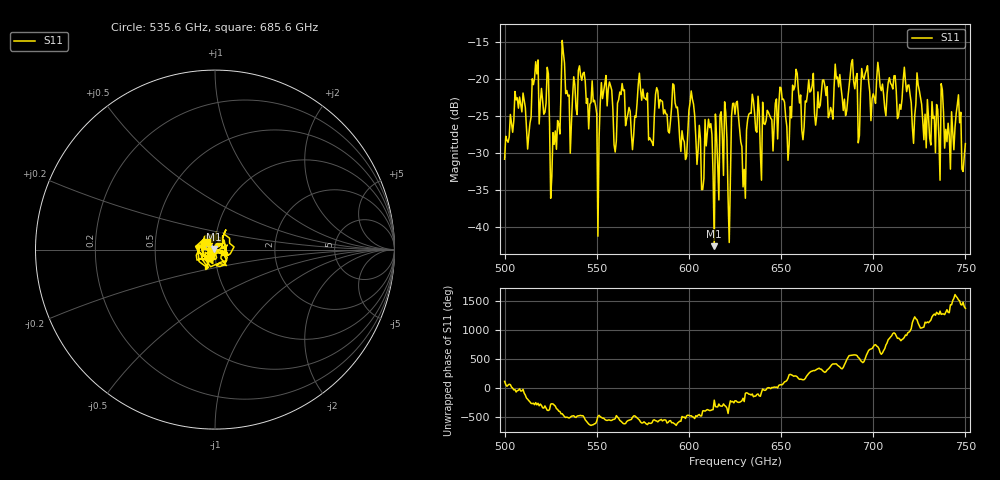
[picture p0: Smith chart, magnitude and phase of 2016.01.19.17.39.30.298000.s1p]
!Created with skrf (http://scikit-rf.org).
# GHz S RI R 50.0
!freq ReS11 ImS11
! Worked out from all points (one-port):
!   401 points, 500 GHz to 750 GHz, reference 50 ohm
!   lowest |S11| = -42.6 dB at 613.8 GHz (marker M1), VSWR 1.01, Z = 49.3 + j0.325 ohm
!   |S11| at or under -10 dB: start of sweep to end of sweep
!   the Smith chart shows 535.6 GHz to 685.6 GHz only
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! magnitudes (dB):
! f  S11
! 500 GHz  -30.8
! 506.9 GHz  -22.6
! 513.1 GHz  -27.5
! 516.9 GHz  -17.7
! 526.2 GHz  -27.3
! 531.2 GHz  -14.8
! 535.6 GHz  -30.0
! 541.9 GHz  -20.2
! 550.6 GHz  -41.2
! 553.8 GHz  -21.7
! 560 GHz  -29.9
! 562.5 GHz  -21.8
! 570 GHz  -27.7
! 573.8 GHz  -21.4
! 579.4 GHz  -28.3
! 583.1 GHz  -21.6
! 593.8 GHz  -23.8
! 613.8 GHz  -42.6
! 618.8 GHz  -33.0
! 621.9 GHz  -42.1
! 625 GHz  -24.8
! 629.4 GHz  -34.6
! 633.8 GHz  -24.7
! 656.2 GHz  -20.8
! 687.5 GHz  -19.5
! 718.8 GHz  -20.9
! 746.2 GHz  -22.1
! 750 GHz  -28.7
